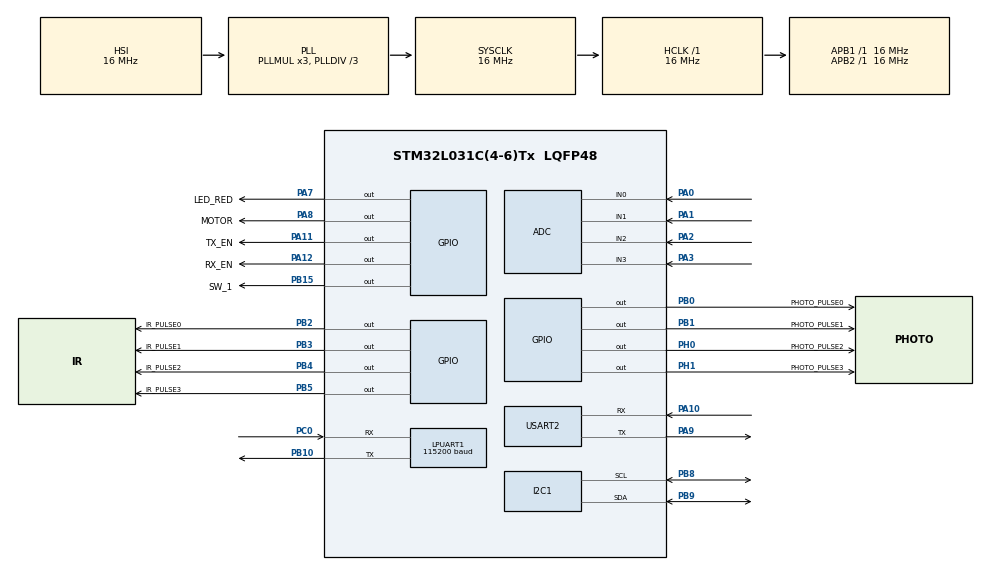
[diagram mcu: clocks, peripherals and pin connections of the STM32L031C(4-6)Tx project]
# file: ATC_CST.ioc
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ADC.ClockPrescaler=ADC_CLOCK_ASYNC_DIV1
ADC.EOCSelection=ADC_EOC_SEQ_CONV
Dma.ADC.0.Direction=DMA_PERIPH_TO_MEMORY
Dma.ADC.0.Instance=DMA1_Channel1
Dma.ADC.0.MemDataAlignment=DMA_MDATAALIGN_HALFWORD
Dma.ADC.0.MemInc=DMA_MINC_ENABLE
Dma.ADC.0.Mode=DMA_CIRCULAR
Dma.ADC.0.PeriphDataAlignment=DMA_PDATAALIGN_HALFWORD
Dma.ADC.0.PeriphInc=DMA_PINC_DISABLE
Dma.ADC.0.Priority=DMA_PRIORITY_LOW
Dma.Request0=ADC
I2C1.Timing=0x00303D5B
LPUART1.BaudRate=115200
LPUART1.WordLength=UART_WORDLENGTH_8B
Mcu.Family=STM32L0
Mcu.Name=STM32L031C(4-6)Tx
Mcu.Package=LQFP48
NVIC.ADC1_COMP_IRQn=true\:1\:0\:true\:true\:true\:2\:true\:true\:true
NVIC.DMA1_Channel1_IRQn=true\:1\:0\:true\:false\:true\:false\:true\:true
NVIC.TIM2_IRQn=true\:2\:0\:true\:true\:true\:3\:true\:true\:true
NVIC.USART2_IRQn=true\:0\:0\:false\:true\:true\:1\:true\:true\:true
PA0.Mode=IN0
PA0.Signal=ADC_IN0
PA1.Mode=IN1
PA1.Signal=ADC_IN1
PA10.Mode=Asynchronous
PA10.Signal=USART2_RX
PA11.GPIO_Label=TX_EN
PA11.Signal=GPIO_Output
PA12.GPIO_Label=RX_EN
PA12.Signal=GPIO_Output
PA13.Mode=Serial_Wire
PA13.Signal=SYS_SWDIO
PA14.Mode=Serial_Wire
PA14.Signal=SYS_SWCLK
PA2.Mode=IN2
PA2.Signal=ADC_IN2
PA3.Mode=IN3
PA3.Signal=ADC_IN3
PA7.GPIO_Label=LED_RED
PA7.PinState=GPIO_PIN_SET
PA7.Signal=GPIO_Output
PA8.GPIO_Label=MOTOR
PA8.PinState=GPIO_PIN_SET
PA8.Signal=GPIO_Output
PA9.Mode=Asynchronous
PA9.Signal=USART2_TX
PB0.GPIO_Label=PHOTO_PULSE0
PB0.Signal=GPIO_Output
PB1.GPIO_Label=PHOTO_PULSE1
PB1.Signal=GPIO_Output
PB10.Mode=Asynchronous
PB10.Signal=LPUART1_TX
PB15.GPIO_Label=SW_1
PB15.Signal=GPIO_Output
PB2.GPIO_Label=IR_PULSE0
PB2.Signal=GPIO_Output
PB3.GPIO_Label=IR_PULSE1
PB3.Signal=GPIO_Output
PB4.GPIO_Label=IR_PULSE2
PB4.Signal=GPIO_Output
PB5.GPIO_Label=IR_PULSE3
PB5.Signal=GPIO_Output
PB8.Mode=I2C
PB8.Signal=I2C1_SCL
PB9.Mode=I2C
PB9.Signal=I2C1_SDA
PC0.Mode=Asynchronous
PC0.Signal=LPUART1_RX
PH0-OSC_IN.GPIO_Label=PHOTO_PULSE2
PH0-OSC_IN.Signal=GPIO_Output
PH1-OSC_OUT.GPIO_Label=PHOTO_PULSE3
PH1-OSC_OUT.Signal=GPIO_Output
ProjectManager.HeapSize=0x200
ProjectManager.StackSize=0x400
ProjectManager.TargetToolchain=STM32CubeIDE
RCC.AHBFreq_Value=16000000
RCC.APB1Freq_Value=16000000
RCC.APB1TimFreq_Value=16000000
RCC.APB2Freq_Value=16000000
RCC.APB2TimFreq_Value=16000000
RCC.HCLKFreq_Value=16000000
RCC.HSE_VALUE=8000000
RCC.HSI16_VALUE=16000000
RCC.HSI_VALUE=16000000
RCC.LSE_VALUE=32768
RCC.MSI_VALUE=2097000
RCC.PLLDIV=RCC_PLLDIV_3
RCC.SYSCLKFreq_VALUE=16000000
RCC.SYSCLKSource=RCC_SYSCLKSOURCE_PLLCLK
RCC.VCOOutputFreq_Value=48000000
TIM2.AutoReloadPreload=TIM_AUTORELOAD_PRELOAD_ENABLE
TIM2.ClockDivision=TIM_CLOCKDIVISION_DIV2
TIM2.Period=10000
TIM2.Prescaler=32
USART2.VirtualMode-Asynchronous=VM_ASYNC
VP_TIM2_VS_ClockSourceINT.Mode=Internal
board=custom

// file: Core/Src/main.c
/* USER CODE BEGIN Header */
/**
 ******************************************************************************
 * @file           : main.c
 * @brief          : Main program body
 ******************************************************************************
 * @attention
 *
 * Copyright (c) 2024 STMicroelectronics.
 * All rights reserved.
 *
 * This software is licensed under terms that can be found in the LICENSE file
 * in the root directory of this software component.
 * If no LICENSE file comes with this software, it is provided AS-IS.
 *
 ******************************************************************************
 */
/* USER CODE END Header */
#include "main.h"
#include "adc.h"
#include "dma.h"
#include "i2c.h"
#include "usart.h"
#include "tim.h"
#include "gpio.h"

/* USER CODE BEGIN Includes */
#include "biz_main.h"
#include "biz_uart.h"
#include "stdio.h"
/* USER CODE END Includes */

/* USER CODE BEGIN PD */
int _write(int file, uint8_t *ptr, int len)
{
#if 0
	HAL_GPIO_WritePin(TX_EN_GPIO_Port,TX_EN_Pin,SET);
	HAL_UART_Transmit(&huart2, ptr, len, 100);	//422 Port
	HAL_GPIO_WritePin(TX_EN_GPIO_Port,TX_EN_Pin,RESET);
#else
	HAL_UART_Transmit(&hlpuart1, ptr, len, 100);	//Debug Port
#endif
	return len;
}
/* USER CODE END PD */

void SystemClock_Config(void);
static void MX_NVIC_Init(void);

int main(void)
{

	/* MCU Configuration--------------------------------------------------------*/

	/* Reset of all peripherals, Initializes the Flash interface and the Systick. */
	HAL_Init();

	/* Configure the system clock */
	SystemClock_Config();

	/* Initialize all configured peripherals */
	MX_GPIO_Init();
	MX_DMA_Init();
	MX_ADC_Init();
	MX_I2C1_Init();
	MX_LPUART1_UART_Init();
	MX_USART2_UART_Init();
	MX_TIM2_Init();

	/* Initialize interrupts */
	MX_NVIC_Init();
	/* USER CODE BEGIN 2 */

	printf("\r\nOpenCowork by.Modules\r\n");
	printf("Compile date  %s [%s] \r\n\r\n", __DATE__, __TIME__);
	printf("ATC CST [ROM A.I Health Care]\r\n\r\n");
	/* USER CODE END 2 */

	/* Infinite loop */
	/* USER CODE BEGIN WHILE */
	__HAL_UART_ENABLE_IT(&huart2, UART_IT_RXNE);
	HAL_GPIO_WritePin(RX_EN_GPIO_Port, RX_EN_Pin, RESET);

#if 1
	biz_loop();
#endif

	while (1)
	{

		Uart_Buffer_Debug();
		/*
		 uint8_t buf[100];

		 HAL_Delay(1000);
		 HAL_GPIO_WritePin(TX_EN_GPIO_Port, TX_EN_Pin, SET);
		 HAL_GPIO_TogglePin(LED_RED_GPIO_Port, LED_RED_Pin);

		 sprintf(buf, "test!!!\r\n");

		 HAL_UART_Transmit(&hlpuart1, buf, strlen(buf), 100);
		 HAL_UART_Transmit(&huart2, buf, strlen(buf), 100);
		 HAL_GPIO_WritePin(TX_EN_GPIO_Port, TX_EN_Pin, RESET);
		 */
		/* USER CODE END WHILE */

	}
}

void SystemClock_Config(void)
{
	RCC_OscInitTypeDef RCC_OscInitStruct =
	{ 0 };
	RCC_ClkInitTypeDef RCC_ClkInitStruct =
	{ 0 };
	RCC_PeriphCLKInitTypeDef PeriphClkInit =
	{ 0 };

	/** Configure the main internal regulator output voltage
	 */
	__HAL_PWR_VOLTAGESCALING_CONFIG(PWR_REGULATOR_VOLTAGE_SCALE1);

	/** Initializes the RCC Oscillators according to the specified parameters
	 * in the RCC_OscInitTypeDef structure.
	 */
	RCC_OscInitStruct.OscillatorType = RCC_OSCILLATORTYPE_HSI;
	RCC_OscInitStruct.HSIState = RCC_HSI_ON;
	RCC_OscInitStruct.HSICalibrationValue = RCC_HSICALIBRATION_DEFAULT;
	RCC_OscInitStruct.PLL.PLLState = RCC_PLL_ON;
	RCC_OscInitStruct.PLL.PLLSource = RCC_PLLSOURCE_HSI;
	RCC_OscInitStruct.PLL.PLLMUL = RCC_PLLMUL_3;
	RCC_OscInitStruct.PLL.PLLDIV = RCC_PLLDIV_3;
	if (HAL_RCC_OscConfig(&RCC_OscInitStruct) != HAL_OK)
	{
		Error_Handler();
	}

	/** Initializes the CPU, AHB and APB buses clocks
	 */
	RCC_ClkInitStruct.ClockType = RCC_CLOCKTYPE_HCLK | RCC_CLOCKTYPE_SYSCLK | RCC_CLOCKTYPE_PCLK1 | RCC_CLOCKTYPE_PCLK2;
	RCC_ClkInitStruct.SYSCLKSource = RCC_SYSCLKSOURCE_PLLCLK;
	RCC_ClkInitStruct.AHBCLKDivider = RCC_SYSCLK_DIV1;
	RCC_ClkInitStruct.APB1CLKDivider = RCC_HCLK_DIV1;
	RCC_ClkInitStruct.APB2CLKDivider = RCC_HCLK_DIV1;

	if (HAL_RCC_ClockConfig(&RCC_ClkInitStruct, FLASH_LATENCY_0) != HAL_OK)
	{
		Error_Handler();
	}
	PeriphClkInit.PeriphClockSelection = RCC_PERIPHCLK_USART2 | RCC_PERIPHCLK_LPUART1 | RCC_PERIPHCLK_I2C1;
	PeriphClkInit.Usart2ClockSelection = RCC_USART2CLKSOURCE_PCLK1;
	PeriphClkInit.Lpuart1ClockSelection = RCC_LPUART1CLKSOURCE_PCLK1;
	PeriphClkInit.I2c1ClockSelection = RCC_I2C1CLKSOURCE_PCLK1;
	if (HAL_RCCEx_PeriphCLKConfig(&PeriphClkInit) != HAL_OK)
	{
		Error_Handler();
	}
}

/**
 * @brief NVIC Configuration.
 * @retval None
 */
static void MX_NVIC_Init(void)
{
	/* USART2_IRQn interrupt configuration */
	HAL_NVIC_SetPriority(USART2_IRQn, 0, 0);
	HAL_NVIC_EnableIRQ(USART2_IRQn);
	/* ADC1_COMP_IRQn interrupt configuration */
	HAL_NVIC_SetPriority(ADC1_COMP_IRQn, 1, 0);
	HAL_NVIC_EnableIRQ(ADC1_COMP_IRQn);
	/* TIM2_IRQn interrupt configuration */
	HAL_NVIC_SetPriority(TIM2_IRQn, 2, 0);
	HAL_NVIC_EnableIRQ(TIM2_IRQn);
}

void Error_Handler(void)
{
	__disable_irq();
	while (1)
	{
	}
}
